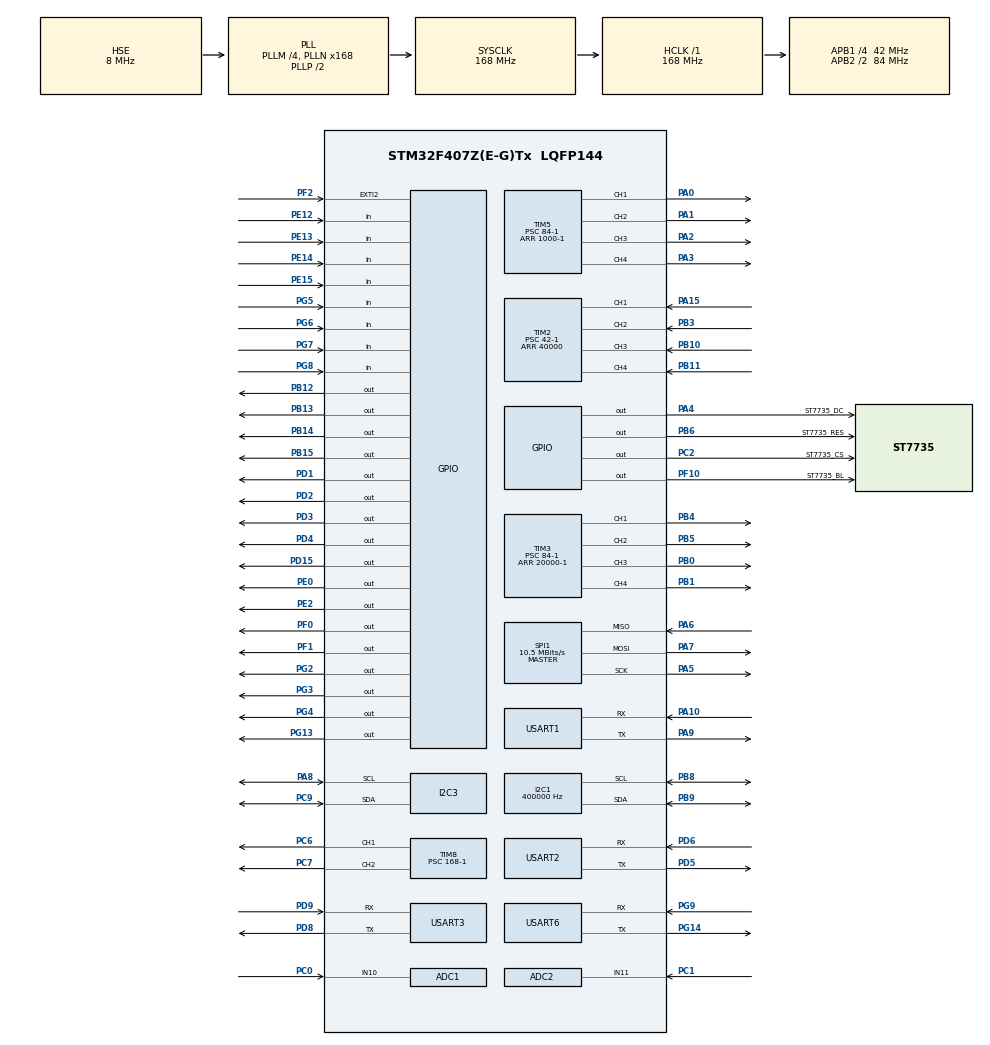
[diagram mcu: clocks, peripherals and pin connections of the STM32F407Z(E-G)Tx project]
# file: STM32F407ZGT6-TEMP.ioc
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ADC1.Channel-3\#ChannelRegularConversion=ADC_CHANNEL_10
ADC1.ClockPrescaler=ADC_CLOCK_SYNC_PCLK_DIV8
ADC1.ContinuousConvMode=DISABLE
ADC1.NbrOfConversionFlag=1
ADC1.Rank-3\#ChannelRegularConversion=1
ADC1.SamplingTime-3\#ChannelRegularConversion=ADC_SAMPLETIME_56CYCLES
ADC1.ScanConvMode=DISABLE
ADC1.master=1
ADC2.Channel-3\#ChannelRegularConversion=ADC_CHANNEL_11
ADC2.ClockPrescaler=ADC_CLOCK_SYNC_PCLK_DIV8
ADC2.NbrOfConversionFlag=1
ADC2.Rank-3\#ChannelRegularConversion=1
ADC2.SamplingTime-3\#ChannelRegularConversion=ADC_SAMPLETIME_3CYCLES
Dma.Request0=USART6_RX
Dma.Request1=SPI1_TX
Dma.Request2=USART2_RX
Dma.SPI1_TX.1.Direction=DMA_MEMORY_TO_PERIPH
Dma.SPI1_TX.1.FIFOMode=DMA_FIFOMODE_DISABLE
Dma.SPI1_TX.1.Instance=DMA2_Stream3
Dma.SPI1_TX.1.MemDataAlignment=DMA_MDATAALIGN_BYTE
Dma.SPI1_TX.1.MemInc=DMA_MINC_ENABLE
Dma.SPI1_TX.1.Mode=DMA_NORMAL
Dma.SPI1_TX.1.PeriphDataAlignment=DMA_PDATAALIGN_BYTE
Dma.SPI1_TX.1.PeriphInc=DMA_PINC_DISABLE
Dma.SPI1_TX.1.Priority=DMA_PRIORITY_LOW
Dma.USART2_RX.2.Direction=DMA_PERIPH_TO_MEMORY
Dma.USART2_RX.2.FIFOMode=DMA_FIFOMODE_DISABLE
Dma.USART2_RX.2.Instance=DMA1_Stream5
Dma.USART2_RX.2.MemDataAlignment=DMA_MDATAALIGN_BYTE
Dma.USART2_RX.2.MemInc=DMA_MINC_ENABLE
Dma.USART2_RX.2.Mode=DMA_NORMAL
Dma.USART2_RX.2.PeriphDataAlignment=DMA_PDATAALIGN_BYTE
Dma.USART2_RX.2.PeriphInc=DMA_PINC_DISABLE
Dma.USART2_RX.2.Priority=DMA_PRIORITY_LOW
Dma.USART6_RX.0.Direction=DMA_PERIPH_TO_MEMORY
Dma.USART6_RX.0.FIFOMode=DMA_FIFOMODE_DISABLE
Dma.USART6_RX.0.Instance=DMA2_Stream1
Dma.USART6_RX.0.MemDataAlignment=DMA_MDATAALIGN_BYTE
Dma.USART6_RX.0.MemInc=DMA_MINC_ENABLE
Dma.USART6_RX.0.Mode=DMA_NORMAL
Dma.USART6_RX.0.PeriphDataAlignment=DMA_PDATAALIGN_BYTE
Dma.USART6_RX.0.PeriphInc=DMA_PINC_DISABLE
Dma.USART6_RX.0.Priority=DMA_PRIORITY_LOW
FREERTOS.BinarySemaphores01=xKey01,Dynamic,NULL;xKey02,Dynamic,NULL;xKey03,Dynamic,NULL;xKey04,Dynamic,NULL;xKey05,Dynamic,NULL;xKey06,Dynamic,NULL;xKey07,Dynamic,NULL;xKey08,Dynamic,NULL;xKey09,Dynamic,NULL;xKey10,Dynamic,NULL;xKey11,Dynamic,NULL;xKey12,Dynamic,NULL;xKey13,Dynamic,NULL;xKey14,Dynamic,NULL;xKey15,Dynamic,NULL;xKey16,Dynamic,NULL
FREERTOS.Mutexes01=I2C_1,Dynamic,NULL
FREERTOS.Queues01=oled_msg,4,float,0,Dynamic,NULL,NULL;degree,5,int,0,Dynamic,NULL,NULL;oled_d,5,int,0,Dynamic,NULL,NULL
FREERTOS.Tasks01=defaultTask,24,128,StartDefaultTask,Default,NULL,Dynamic,NULL,NULL;LED,24,256,LEDTask,Default,NULL,Dynamic,NULL,NULL;WheelDrive,24,256,WheelDriveTask,Default,NULL,Dynamic,NULL,NULL;ADC,24,128,ADCtask,Default,NULL,Dynamic,NULL,NULL;OLED,8,512,OLEDdriveTask,Default,NULL,Dynamic,NULL,NULL;UART,8,256,UARTTask,Default,NULL,Dynamic,NULL,NULL;keyScan,8,128,keyScanTask,Default,NULL,Dynamic,NULL,NULL;servo,8,256,servoTask,Default,NULL,Dynamic,NULL,NULL
FREERTOS.configTOTAL_HEAP_SIZE=65536
I2C1.ClockSpeed=400000
I2C1.I2C_Mode=I2C_Fast
I2C3.I2C_Mode=I2C_Fast
IWDG.Prescaler=IWDG_PRESCALER_32
IWDG.Reload=2000-1
Mcu.Family=STM32F4
Mcu.Name=STM32F407Z(E-G)Tx
Mcu.Package=LQFP144
NVIC.DMA1_Stream5_IRQn=true\:5\:0\:false\:false\:true\:true\:false\:true\:true
NVIC.DMA2_Stream1_IRQn=true\:5\:0\:false\:false\:true\:true\:false\:true\:true
NVIC.DMA2_Stream3_IRQn=true\:5\:0\:false\:false\:true\:true\:false\:true\:true
NVIC.EXTI2_IRQn=true\:5\:0\:false\:false\:true\:true\:true\:true\:true
NVIC.PriorityGroup=NVIC_PRIORITYGROUP_4
NVIC.TIM1_UP_TIM10_IRQn=true\:15\:0\:false\:false\:true\:false\:false\:true\:true
NVIC.TIM2_IRQn=true\:5\:0\:false\:false\:true\:true\:true\:true\:true
NVIC.TIM8_UP_TIM13_IRQn=true\:5\:0\:false\:false\:true\:true\:true\:true\:true
NVIC.TimeBase=TIM1_UP_TIM10_IRQn
NVIC.TimeBaseIP=TIM10
NVIC.USART1_IRQn=true\:5\:0\:false\:false\:true\:false\:true\:true\:true
NVIC.USART2_IRQn=true\:5\:0\:false\:false\:true\:true\:true\:true\:true
NVIC.USART3_IRQn=true\:5\:0\:false\:false\:true\:true\:true\:true\:true
NVIC.USART6_IRQn=true\:5\:0\:false\:false\:true\:true\:true\:true\:true
PA0-WKUP.GPIO_PuPd=GPIO_PULLDOWN
PA0-WKUP.GPIO_Speed=GPIO_SPEED_FREQ_VERY_HIGH
PA0-WKUP.Signal=S_TIM5_CH1
PA1.GPIO_PuPd=GPIO_PULLDOWN
PA1.GPIO_Speed=GPIO_SPEED_FREQ_VERY_HIGH
PA1.Signal=S_TIM5_CH2
PA10.GPIO_PuPd=GPIO_NOPULL
PA10.Mode=Asynchronous
PA10.Signal=USART1_RX
PA13.Mode=Serial_Wire
PA13.Signal=SYS_JTMS-SWDIO
PA14.Mode=Serial_Wire
PA14.Signal=SYS_JTCK-SWCLK
PA15.GPIO_PuPd=GPIO_NOPULL
PA15.GPIO_Speed=GPIO_SPEED_FREQ_VERY_HIGH
PA15.Signal=S_TIM2_CH1_ETR
PA2.GPIO_PuPd=GPIO_PULLDOWN
PA2.GPIO_Speed=GPIO_SPEED_FREQ_VERY_HIGH
PA2.Signal=S_TIM5_CH3
PA3.GPIO_PuPd=GPIO_PULLDOWN
PA3.GPIO_Speed=GPIO_SPEED_FREQ_VERY_HIGH
PA3.Signal=S_TIM5_CH4
PA4.GPIO_Label=ST7735_DC
PA4.GPIO_ModeDefaultOutputPP=GPIO_MODE_OUTPUT_PP
PA4.GPIO_PuPd=GPIO_PULLUP
PA4.GPIO_Speed=GPIO_SPEED_FREQ_HIGH
PA4.Signal=GPIO_Output
PA5.GPIO_PuPd=GPIO_PULLUP
PA5.Mode=Full_Duplex_Master
PA5.Signal=SPI1_SCK
PA6.GPIO_PuPd=GPIO_PULLUP
PA6.Mode=Full_Duplex_Master
PA6.Signal=SPI1_MISO
PA7.GPIO_PuPd=GPIO_PULLUP
PA7.Mode=Full_Duplex_Master
PA7.Signal=SPI1_MOSI
PA8.GPIO_Pu=GPIO_PULLUP
PA8.Mode=I2C
PA8.Signal=I2C3_SCL
PA9.GPIO_PuPd=GPIO_NOPULL
PA9.Mode=Asynchronous
PA9.Signal=USART1_TX
PB0.GPIO_PuPd=GPIO_PULLDOWN
PB0.GPIO_Speed=GPIO_SPEED_FREQ_VERY_HIGH
PB0.Signal=S_TIM3_CH3
PB1.GPIO_PuPd=GPIO_PULLDOWN
PB1.GPIO_Speed=GPIO_SPEED_FREQ_VERY_HIGH
PB1.Signal=S_TIM3_CH4
PB10.GPIO_PuPd=GPIO_NOPULL
PB10.GPIO_Speed=GPIO_SPEED_FREQ_VERY_HIGH
PB10.Signal=S_TIM2_CH3
PB11.GPIO_PuPd=GPIO_NOPULL
PB11.GPIO_Speed=GPIO_SPEED_FREQ_VERY_HIGH
PB11.Signal=S_TIM2_CH4
PB12.GPIO_ModeDefaultOutputPP=GPIO_MODE_OUTPUT_PP
PB12.GPIO_PuPd=GPIO_PULLDOWN
PB12.GPIO_Speed=GPIO_SPEED_FREQ_VERY_HIGH
PB12.PinState=GPIO_PIN_RESET
PB12.Signal=GPIO_Output
PB13.GPIO_ModeDefaultOutputPP=GPIO_MODE_OUTPUT_PP
PB13.GPIO_PuPd=GPIO_PULLDOWN
PB13.GPIO_Speed=GPIO_SPEED_FREQ_VERY_HIGH
PB13.PinState=GPIO_PIN_RESET
PB13.Signal=GPIO_Output
PB14.GPIO_ModeDefaultOutputPP=GPIO_MODE_OUTPUT_PP
PB14.GPIO_PuPd=GPIO_PULLDOWN
PB14.GPIO_Speed=GPIO_SPEED_FREQ_VERY_HIGH
PB14.PinState=GPIO_PIN_RESET
PB14.Signal=GPIO_Output
PB15.GPIO_ModeDefaultOutputPP=GPIO_MODE_OUTPUT_PP
PB15.GPIO_PuPd=GPIO_PULLDOWN
PB15.GPIO_Speed=GPIO_SPEED_FREQ_VERY_HIGH
PB15.PinState=GPIO_PIN_RESET
PB15.Signal=GPIO_Output
PB3.GPIO_PuPd=GPIO_NOPULL
PB3.GPIO_Speed=GPIO_SPEED_FREQ_VERY_HIGH
PB3.Signal=S_TIM2_CH2
PB4.GPIO_PuPd=GPIO_PULLDOWN
PB4.GPIO_Speed=GPIO_SPEED_FREQ_VERY_HIGH
PB4.Signal=S_TIM3_CH1
PB5.GPIO_PuPd=GPIO_PULLDOWN
PB5.GPIO_Speed=GPIO_SPEED_FREQ_VERY_HIGH
PB5.Signal=S_TIM3_CH2
PB6.GPIO_Label=ST7735_RES
PB6.GPIO_ModeDefaultOutputPP=GPIO_MODE_OUTPUT_PP
PB6.GPIO_PuPd=GPIO_PULLUP
PB6.GPIO_Speed=GPIO_SPEED_FREQ_HIGH
PB6.Signal=GPIO_Output
PB8.GPIO_Pu=GPIO_PULLUP
PB8.Mode=I2C
PB8.Signal=I2C1_SCL
PB9.GPIO_Pu=GPIO_PULLUP
PB9.Mode=I2C
PB9.Signal=I2C1_SDA
PC0.Signal=ADCx_IN10
PC1.Signal=ADCx_IN11
PC14-OSC32_IN.Mode=LSE-External-Oscillator
PC14-OSC32_IN.Signal=RCC_OSC32_IN
PC15-OSC32_OUT.Mode=LSE-External-Oscillator
PC15-OSC32_OUT.Signal=RCC_OSC32_OUT
PC2.GPIO_Label=ST7735_CS
PC2.GPIO_ModeDefaultOutputPP=GPIO_MODE_OUTPUT_PP
PC2.GPIO_PuPd=GPIO_PULLUP
PC2.GPIO_Speed=GPIO_SPEED_FREQ_HIGH
PC2.Signal=GPIO_Output
PC6.GPIO_PuPd=GPIO_PULLDOWN
PC6.GPIO_Speed=GPIO_SPEED_FREQ_VERY_HIGH
PC6.Signal=S_TIM8_CH1
PC7.GPIO_PuPd=GPIO_PULLDOWN
PC7.GPIO_Speed=GPIO_SPEED_FREQ_VERY_HIGH
PC7.Signal=S_TIM8_CH2
PC9.GPIO_Pu=GPIO_PULLUP
PC9.Mode=I2C
PC9.Signal=I2C3_SDA
PD1.GPIO_PuPd=GPIO_PULLDOWN
PD1.Signal=GPIO_Output
PD15.GPIO_PuPd=GPIO_PULLDOWN
PD15.Signal=GPIO_Output
PD2.GPIO_PuPd=GPIO_PULLDOWN
PD2.Signal=GPIO_Output
PD3.GPIO_PuPd=GPIO_PULLDOWN
PD3.Signal=GPIO_Output
PD4.GPIO_PuPd=GPIO_PULLDOWN
PD4.Signal=GPIO_Output
PD5.GPIO_PuPd=GPIO_NOPULL
PD5.Mode=Asynchronous
PD5.Signal=USART2_TX
PD6.GPIO_PuPd=GPIO_NOPULL
PD6.Mode=Asynchronous
PD6.Signal=USART2_RX
PD8.GPIO_PuPd=GPIO_NOPULL
PD8.Mode=Asynchronous
PD8.Signal=USART3_TX
PD9.GPIO_PuPd=GPIO_NOPULL
PD9.Mode=Asynchronous
PD9.Signal=USART3_RX
PE0.GPIO_ModeDefaultOutputPP=GPIO_MODE_OUTPUT_OD
PE0.GPIO_PuPd=GPIO_NOPULL
PE0.PinState=GPIO_PIN_SET
PE0.Signal=GPIO_Output
PE12.GPIO_Mode=GPIO_MODE_INPUT
PE12.GPIO_PuPd=GPIO_PULLDOWN
PE12.Signal=GPIO_Input
PE13.GPIO_Mode=GPIO_MODE_INPUT
PE13.GPIO_PuPd=GPIO_PULLDOWN
PE13.Signal=GPIO_Input
PE14.GPIO_Mode=GPIO_MODE_INPUT
PE14.GPIO_PuPd=GPIO_PULLDOWN
PE14.Signal=GPIO_Input
PE15.GPIO_Mode=GPIO_MODE_INPUT
PE15.GPIO_PuPd=GPIO_PULLDOWN
PE15.Signal=GPIO_Input
PE2.GPIO_ModeDefaultOutputPP=GPIO_MODE_OUTPUT_PP
PE2.GPIO_PuPd=GPIO_PULLUP
PE2.PinState=GPIO_PIN_SET
PE2.Signal=GPIO_Output
PF0.GPIO_ModeDefaultOutputPP=GPIO_MODE_OUTPUT_OD
PF0.GPIO_PuPd=GPIO_PULLUP
PF0.GPIO_Speed=GPIO_SPEED_FREQ_VERY_HIGH
PF0.PinState=GPIO_PIN_SET
PF0.Signal=GPIO_Output
PF1.GPIO_ModeDefaultOutputPP=GPIO_MODE_OUTPUT_OD
PF1.GPIO_PuPd=GPIO_PULLUP
PF1.GPIO_Speed=GPIO_SPEED_FREQ_VERY_HIGH
PF1.PinState=GPIO_PIN_SET
PF1.Signal=GPIO_Output
PF10.GPIO_Label=ST7735_BL
PF10.GPIO_ModeDefaultOutputPP=GPIO_MODE_OUTPUT_PP
PF10.GPIO_PuPd=GPIO_PULLUP
PF10.GPIO_Speed=GPIO_SPEED_FREQ_HIGH
PF10.Signal=GPIO_Output
PF2.GPIO_ModeDefaultEXTI=GPIO_MODE_IT_RISING
PF2.GPIO_PuPd=GPIO_PULLDOWN
PF2.Signal=GPXTI2
PG13.GPIO_PuPd=GPIO_PULLDOWN
PG13.Signal=GPIO_Output
PG14.GPIO_PuPd=GPIO_NOPULL
PG14.Mode=Asynchronous
PG14.Signal=USART6_TX
PG2.GPIO_PuPd=GPIO_PULLDOWN
PG2.Signal=GPIO_Output
PG3.GPIO_PuPd=GPIO_PULLDOWN
PG3.Signal=GPIO_Output
PG4.GPIO_PuPd=GPIO_PULLDOWN
PG4.Signal=GPIO_Output
PG5.GPIO_PuPd=GPIO_NOPULL
PG5.Signal=GPIO_Input
PG6.GPIO_PuPd=GPIO_NOPULL
PG6.Signal=GPIO_Input
PG7.GPIO_PuPd=GPIO_NOPULL
PG7.Signal=GPIO_Input
PG8.GPIO_PuPd=GPIO_NOPULL
PG8.Signal=GPIO_Input
PG9.GPIO_PuPd=GPIO_NOPULL
PG9.Mode=Asynchronous
PG9.Signal=USART6_RX
PH0-OSC_IN.Mode=HSE-External-Oscillator
PH0-OSC_IN.Signal=RCC_OSC_IN
PH1-OSC_OUT.Mode=HSE-External-Oscillator
PH1-OSC_OUT.Signal=RCC_OSC_OUT
ProjectManager.HeapSize=0x200
ProjectManager.StackSize=0x400
ProjectManager.TargetToolchain=MDK-ARM V5.32
RCC.48MHZClocksFreq_Value=48000000
RCC.AHBFreq_Value=168000000
RCC.APB1CLKDivider=RCC_HCLK_DIV4
RCC.APB1Freq_Value=42000000
RCC.APB1TimFreq_Value=84000000
RCC.APB2CLKDivider=RCC_HCLK_DIV2
RCC.APB2Freq_Value=84000000
RCC.APB2TimFreq_Value=168000000
RCC.CortexFreq_Value=168000000
RCC.HCLKFreq_Value=168000000
RCC.HSE_VALUE=8000000
RCC.HSI_VALUE=16000000
RCC.PLLM=4
RCC.PLLN=168
RCC.PLLQ=7
RCC.PLLSourceVirtual=RCC_PLLSOURCE_HSE
RCC.SYSCLKFreq_VALUE=168000000
RCC.SYSCLKSource=RCC_SYSCLKSOURCE_PLLCLK
RCC.VCOOutputFreq_Value=336000000
SH.ADCx_IN10.0=ADC1_IN10,IN10
SH.ADCx_IN11.0=ADC2_IN11,IN11
SH.S_TIM2_CH1_ETR.0=TIM2_CH1,Input_Capture1_from_TI1
SH.S_TIM2_CH2.0=TIM2_CH2,Input_Capture2_from_TI2
SH.S_TIM2_CH3.0=TIM2_CH3,Input_Capture3_from_TI3
SH.S_TIM2_CH4.0=TIM2_CH4,Input_Capture4_from_TI4
SH.S_TIM3_CH1.0=TIM3_CH1,PWM Generation1 CH1
SH.S_TIM3_CH2.0=TIM3_CH2,PWM Generation2 CH2
SH.S_TIM3_CH3.0=TIM3_CH3,PWM Generation3 CH3
SH.S_TIM3_CH4.0=TIM3_CH4,PWM Generation4 CH4
SH.S_TIM5_CH1.0=TIM5_CH1,PWM Generation1 CH1
SH.S_TIM5_CH2.0=TIM5_CH2,PWM Generation2 CH2
SH.S_TIM5_CH3.0=TIM5_CH3,PWM Generation3 CH3
SH.S_TIM5_CH4.0=TIM5_CH4,PWM Generation4 CH4
SH.S_TIM8_CH1.0=TIM8_CH1,PWM Generation1 CH1
SH.S_TIM8_CH2.0=TIM8_CH2,PWM Generation2 CH2
SPI1.BaudRatePrescaler=SPI_BAUDRATEPRESCALER_8
SPI1.CalculateBaudRate=10.5 MBits/s
SPI1.Direction=SPI_DIRECTION_2LINES
SPI1.Mode=SPI_MODE_MASTER
SPI1.VirtualType=VM_MASTER
TIM2.Channel-Input_Capture1_from_TI1=TIM_CHANNEL_1
TIM2.Channel-Input_Capture2_from_TI2=TIM_CHANNEL_2
TIM2.Channel-Input_Capture3_from_TI3=TIM_CHANNEL_3
TIM2.Channel-Input_Capture4_from_TI4=TIM_CHANNEL_4
TIM2.Period=40000
TIM2.Prescaler=42-1
TIM3.AutoReloadPreload=TIM_AUTORELOAD_PRELOAD_DISABLE
TIM3.Channel-PWM\ Generation1\ CH1=TIM_CHANNEL_1
TIM3.Channel-PWM\ Generation2\ CH2=TIM_CHANNEL_2
TIM3.Channel-PWM\ Generation3\ CH3=TIM_CHANNEL_3
TIM3.Channel-PWM\ Generation4\ CH4=TIM_CHANNEL_4
TIM3.Period=20000-1
TIM3.Prescaler=84-1
TIM5.AutoReloadPreload=TIM_AUTORELOAD_PRELOAD_ENABLE
TIM5.Channel-PWM\ Generation1\ CH1=TIM_CHANNEL_1
TIM5.Channel-PWM\ Generation2\ CH2=TIM_CHANNEL_2
TIM5.Channel-PWM\ Generation3\ CH3=TIM_CHANNEL_3
TIM5.Channel-PWM\ Generation4\ CH4=TIM_CHANNEL_4
TIM5.Period=1000-1
TIM5.Prescaler=84-1
TIM8.Channel-PWM\ Generation1\ CH1=TIM_CHANNEL_1
TIM8.Channel-PWM\ Generation2\ CH2=TIM_CHANNEL_2
TIM8.Period=1000-1
TIM8.Prescaler=168-1
USART1.VirtualMode=VM_ASYNC
USART2.VirtualMode=VM_ASYNC
USART3.VirtualMode=VM_ASYNC
USART6.VirtualMode=VM_ASYNC
VP_FREERTOS_VS_CMSIS_V2.Mode=CMSIS_V2
VP_IWDG_VS_IWDG.Mode=IWDG_Activate
VP_SYS_VS_tim10.Mode=TIM10
VP_TIM2_VS_ClockSourceINT.Mode=Internal
VP_TIM5_VS_ClockSourceINT.Mode=Internal
VP_TIM8_VS_ClockSourceINT.Mode=Internal
board=custom

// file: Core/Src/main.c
/* USER CODE BEGIN Header */
/**
  ******************************************************************************
  * @file           : main.c
  * @brief          : Main program body
  ******************************************************************************
  * @attention
  *
  * Copyright (c) 2023 STMicroelectronics.
  * All rights reserved.
  *
  * This software is licensed under terms that can be found in the LICENSE file
  * in the root directory of this software component.
  * If no LICENSE file comes with this software, it is provided AS-IS.
  *
  ******************************************************************************
  */
/* USER CODE END Header */
#include "main.h"
#include "cmsis_os.h"
#include "adc.h"
#include "dma.h"
#include "i2c.h"
#include "iwdg.h"
#include "spi.h"
#include "tim.h"
#include "usart.h"
#include "gpio.h"

/* USER CODE BEGIN Includes */
//#include "mpu6050.h"
#include "encoder.h"
#include "stdio.h"
#include "oled.h"
#include "st7735.h"
/* USER CODE END Includes */

/* USER CODE BEGIN PV */
extern motor_encoder motor1;
extern motor_encoder motor2;
extern motor_encoder motor3;
extern motor_encoder motor4;

const float PI = 3.1415926;
const float D = 0.065;
/* USER CODE END PV */

void SystemClock_Config(void);
void MX_FREERTOS_Init(void);

int main(void)
{

  /* MCU Configuration--------------------------------------------------------*/

  /* Reset of all peripherals, Initializes the Flash interface and the Systick. */
  HAL_Init();

  /* Configure the system clock */
  SystemClock_Config();

  /* Initialize all configured peripherals */
  MX_GPIO_Init();
  MX_DMA_Init();
  MX_TIM2_Init();
  MX_TIM5_Init();
  MX_ADC1_Init();
  MX_I2C1_Init();
  MX_I2C3_Init();
  MX_SPI1_Init();
  MX_TIM3_Init();
  MX_USART1_UART_Init();
  MX_USART2_UART_Init();
  MX_USART3_UART_Init();
  MX_USART6_UART_Init();
  MX_TIM8_Init();
  MX_ADC2_Init();
  MX_IWDG_Init();
  /* USER CODE BEGIN 2 */

	/*Usart6*/
	UART_init();

	/*motor timer pwm config*/
	//HAL_TIM_PWM_Start(&htim5,TIM_CHANNEL_1);
	//HAL_TIM_PWM_Start(&htim5,TIM_CHANNEL_2);
	HAL_TIM_PWM_Start(&htim5,TIM_CHANNEL_3);
	HAL_TIM_PWM_Start(&htim5,TIM_CHANNEL_4);
	//__HAL_TIM_SetCompare(&htim5,TIM_CHANNEL_1,0);
	//__HAL_TIM_SetCompare(&htim5,TIM_CHANNEL_2,0);
	__HAL_TIM_SetCompare(&htim5,TIM_CHANNEL_3,0);
	__HAL_TIM_SetCompare(&htim5,TIM_CHANNEL_4,0);

	/*servo timer pwm conig*/
	HAL_TIM_PWM_Start(&htim3,TIM_CHANNEL_1);
	//HAL_TIM_PWM_Start(&htim3,TIM_CHANNEL_2);
	//HAL_TIM_PWM_Start(&htim3,TIM_CHANNEL_3);
	//HAL_TIM_PWM_Start(&htim3,TIM_CHANNEL_4);
	__HAL_TIM_SetCompare(&htim3,TIM_CHANNEL_1,0);
	//__HAL_TIM_SetCompare(&htim3,TIM_CHANNEL_2,0);
	//__HAL_TIM_SetCompare(&htim3,TIM_CHANNEL_3,0);
	//__HAL_TIM_SetCompare(&htim3,TIM_CHANNEL_4,0);

	/*motor encoder input capture mode*/
//	HAL_TIM_IC_Start_IT(&htim2,TIM_CHANNEL_1);
//	HAL_TIM_IC_Start_IT(&htim2,TIM_CHANNEL_2);
	HAL_TIM_IC_Start_IT(&htim2,TIM_CHANNEL_3);
	HAL_TIM_IC_Start_IT(&htim2,TIM_CHANNEL_4);
	//__HAL_TIM_ENABLE_IT(&htim2);
	HAL_TIM_Base_Start_IT(&htim2);

//	MPU_Init();
	OLED_Init();
	ST7735_Init();
	ST7735_Backlight_On();
  /* USER CODE END 2 */

  /* Init scheduler */
  osKernelInitialize();  /* Call init function for freertos objects (in freertos.c) */
  MX_FREERTOS_Init();

  /* Start scheduler */
  osKernelStart();

  /* We should never get here as control is now taken by the scheduler */
  /* Infinite loop */
  while (1)
  {

  }
}

void SystemClock_Config(void)
{
  RCC_OscInitTypeDef RCC_OscInitStruct = {0};
  RCC_ClkInitTypeDef RCC_ClkInitStruct = {0};

  /** Configure the main internal regulator output voltage
  */
  __HAL_RCC_PWR_CLK_ENABLE();
  __HAL_PWR_VOLTAGESCALING_CONFIG(PWR_REGULATOR_VOLTAGE_SCALE1);

  /** Initializes the RCC Oscillators according to the specified parameters
  * in the RCC_OscInitTypeDef structure.
  */
  RCC_OscInitStruct.OscillatorType = RCC_OSCILLATORTYPE_LSI|RCC_OSCILLATORTYPE_HSE;
  RCC_OscInitStruct.HSEState = RCC_HSE_ON;
  RCC_OscInitStruct.LSIState = RCC_LSI_ON;
  RCC_OscInitStruct.PLL.PLLState = RCC_PLL_ON;
  RCC_OscInitStruct.PLL.PLLSource = RCC_PLLSOURCE_HSE;
  RCC_OscInitStruct.PLL.PLLM = 4;
  RCC_OscInitStruct.PLL.PLLN = 168;
  RCC_OscInitStruct.PLL.PLLP = RCC_PLLP_DIV2;
  RCC_OscInitStruct.PLL.PLLQ = 7;
  if (HAL_RCC_OscConfig(&RCC_OscInitStruct) != HAL_OK)
  {
    Error_Handler();
  }

  /** Initializes the CPU, AHB and APB buses clocks
  */
  RCC_ClkInitStruct.ClockType = RCC_CLOCKTYPE_HCLK|RCC_CLOCKTYPE_SYSCLK
                              |RCC_CLOCKTYPE_PCLK1|RCC_CLOCKTYPE_PCLK2;
  RCC_ClkInitStruct.SYSCLKSource = RCC_SYSCLKSOURCE_PLLCLK;
  RCC_ClkInitStruct.AHBCLKDivider = RCC_SYSCLK_DIV1;
  RCC_ClkInitStruct.APB1CLKDivider = RCC_HCLK_DIV4;
  RCC_ClkInitStruct.APB2CLKDivider = RCC_HCLK_DIV2;

  if (HAL_RCC_ClockConfig(&RCC_ClkInitStruct, FLASH_LATENCY_5) != HAL_OK)
  {
    Error_Handler();
  }
}

void HAL_TIM_PeriodElapsedCallback(TIM_HandleTypeDef *htim)
{
  if (htim->Instance == TIM10) {
    HAL_IncTick();
  }
  /* USER CODE BEGIN Callback 1 */
	if(htim->Instance == TIM2)
	{
		motor1.speed = PI*D*(float)motor1.pluse/3.9f * motor1.direction;
		motor1.pluse = 0;
		motor2.speed = PI*D*(float)motor2.pluse/3.9f * motor2.direction;
		motor2.pluse = 0;
		motor3.speed = PI*D*(float)motor3.pluse/3.9f * motor3.direction;
		motor3.pluse = 0;
		motor4.speed = PI*D*(float)motor4.pluse/3.9f * motor4.direction;
		motor4.pluse = 0;
	}
  /* USER CODE END Callback 1 */
}

void Error_Handler(void)
{
  __disable_irq();
  while (1)
  {
  }
}

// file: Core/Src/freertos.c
/* USER CODE BEGIN Header */
/**
  ******************************************************************************
  * File Name          : freertos.c
  * Description        : Code for freertos applications
  ******************************************************************************
  * @attention
  *
  * Copyright (c) 2023 STMicroelectronics.
  * All rights reserved.
  *
  * This software is licensed under terms that can be found in the LICENSE file
  * in the root directory of this software component.
  * If no LICENSE file comes with this software, it is provided AS-IS.
  *
  ******************************************************************************
  */
/* USER CODE END Header */

#include "FreeRTOS.h"
#include "task.h"
#include "main.h"
#include "cmsis_os.h"

/* USER CODE BEGIN Includes */
#include "adc.h"
#include "i2c.h"
#include "spi.h"
#include "tim.h"
#include "usart.h"
#include "gpio.h"
#include "stdio.h"
#include "adc.h"
#include "motor.h"
#include "oled.h"
#include "encoder.h"
#include "pid.h"
#include "kalman_filter.h"
#include "uart_ringbuffer.h"
#include "servo.h"
#include "st7735.h"
#include "keyscan.h"
#include "iwdg.h"
/* USER CODE END Includes */

/* USER CODE BEGIN PM */
void Uart6_printf(char *str);
void Uart2_printf(char *str);
/* USER CODE END PM */

/* USER CODE BEGIN Variables */

extern DUT_USART_FIFO g_tUART_6;
extern DUT_USART_FIFO g_tUART_2;

int ok = 0;
/* USER CODE END Variables */
/* Definitions for defaultTask */
osThreadId_t defaultTaskHandle;
const osThreadAttr_t defaultTask_attributes = {
  .name = "defaultTask",
  .stack_size = 128 * 4,
  .priority = (osPriority_t) osPriorityNormal,
};
/* Definitions for LED */
osThreadId_t LEDHandle;
const osThreadAttr_t LED_attributes = {
  .name = "LED",
  .stack_size = 256 * 4,
  .priority = (osPriority_t) osPriorityNormal,
};
/* Definitions for WheelDrive */
osThreadId_t WheelDriveHandle;
const osThreadAttr_t WheelDrive_attributes = {
  .name = "WheelDrive",
  .stack_size = 256 * 4,
  .priority = (osPriority_t) osPriorityNormal,
};
/* Definitions for ADC */
osThreadId_t ADCHandle;
const osThreadAttr_t ADC_attributes = {
  .name = "ADC",
  .stack_size = 128 * 4,
  .priority = (osPriority_t) osPriorityNormal,
};
/* Definitions for OLED */
osThreadId_t OLEDHandle;
const osThreadAttr_t OLED_attributes = {
  .name = "OLED",
  .stack_size = 512 * 4,
  .priority = (osPriority_t) osPriorityLow,
};
/* Definitions for UART */
osThreadId_t UARTHandle;
const osThreadAttr_t UART_attributes = {
  .name = "UART",
  .stack_size = 256 * 4,
  .priority = (osPriority_t) osPriorityLow,
};
/* Definitions for keyScan */
osThreadId_t keyScanHandle;
const osThreadAttr_t keyScan_attributes = {
  .name = "keyScan",
  .stack_size = 128 * 4,
  .priority = (osPriority_t) osPriorityLow,
};
/* Definitions for servo */
osThreadId_t servoHandle;
const osThreadAttr_t servo_attributes = {
  .name = "servo",
  .stack_size = 256 * 4,
  .priority = (osPriority_t) osPriorityLow,
};
/* Definitions for oled_msg */
osMessageQueueId_t oled_msgHandle;
const osMessageQueueAttr_t oled_msg_attributes = {
  .name = "oled_msg"
};
/* Definitions for degree */
osMessageQueueId_t degreeHandle;
const osMessageQueueAttr_t degree_attributes = {
  .name = "degree"
};
/* Definitions for oled_d */
osMessageQueueId_t oled_dHandle;
const osMessageQueueAttr_t oled_d_attributes = {
  .name = "oled_d"
};
/* Definitions for I2C_1 */
osMutexId_t I2C_1Handle;
const osMutexAttr_t I2C_1_attributes = {
  .name = "I2C_1"
};
/* Definitions for xKey01 */
osSemaphoreId_t xKey01Handle;
const osSemaphoreAttr_t xKey01_attributes = {
  .name = "xKey01"
};
/* Definitions for xKey02 */
osSemaphoreId_t xKey02Handle;
const osSemaphoreAttr_t xKey02_attributes = {
  .name = "xKey02"
};
/* Definitions for xKey03 */
osSemaphoreId_t xKey03Handle;
const osSemaphoreAttr_t xKey03_attributes = {
  .name = "xKey03"
};
/* Definitions for xKey04 */
osSemaphoreId_t xKey04Handle;
const osSemaphoreAttr_t xKey04_attributes = {
  .name = "xKey04"
};
/* Definitions for xKey05 */
osSemaphoreId_t xKey05Handle;
const osSemaphoreAttr_t xKey05_attributes = {
  .name = "xKey05"
};
/* Definitions for xKey06 */
osSemaphoreId_t xKey06Handle;
const osSemaphoreAttr_t xKey06_attributes = {
  .name = "xKey06"
};
/* Definitions for xKey07 */
osSemaphoreId_t xKey07Handle;
const osSemaphoreAttr_t xKey07_attributes = {
  .name = "xKey07"
};
/* Definitions for xKey08 */
osSemaphoreId_t xKey08Handle;
const osSemaphoreAttr_t xKey08_attributes = {
  .name = "xKey08"
};
/* Definitions for xKey09 */
osSemaphoreId_t xKey09Handle;
const osSemaphoreAttr_t xKey09_attributes = {
  .name = "xKey09"
};
/* Definitions for xKey10 */
osSemaphoreId_t xKey10Handle;
const osSemaphoreAttr_t xKey10_attributes = {
  .name = "xKey10"
};
/* Definitions for xKey11 */
osSemaphoreId_t xKey11Handle;
const osSemaphoreAttr_t xKey11_attributes = {
  .name = "xKey11"
};
/* Definitions for xKey12 */
osSemaphoreId_t xKey12Handle;
const osSemaphoreAttr_t xKey12_attributes = {
  .name = "xKey12"
};
/* Definitions for xKey13 */
osSemaphoreId_t xKey13Handle;
const osSemaphoreAttr_t xKey13_attributes = {
  .name = "xKey13"
};
/* Definitions for xKey14 */
osSemaphoreId_t xKey14Handle;
const osSemaphoreAttr_t xKey14_attributes = {
  .name = "xKey14"
};
/* Definitions for xKey15 */
osSemaphoreId_t xKey15Handle;
const osSemaphoreAttr_t xKey15_attributes = {
  .name = "xKey15"
};
/* Definitions for xKey16 */
osSemaphoreId_t xKey16Handle;
const osSemaphoreAttr_t xKey16_attributes = {
  .name = "xKey16"
};

void StartDefaultTask(void *argument);
void LEDTask(void *argument);
void WheelDriveTask(void *argument);
void ADCtask(void *argument);
void OLEDdriveTask(void *argument);
void UARTTask(void *argument);
void keyScanTask(void *argument);
void servoTask(void *argument);

void MX_FREERTOS_Init(void); /* (MISRA C 2004 rule 8.1) */

void MX_FREERTOS_Init(void) {
  /* Create the mutex(es) */
  /* creation of I2C_1 */
  I2C_1Handle = osMutexNew(&I2C_1_attributes);

  /* Create the semaphores(s) */
  /* creation of xKey01 */
  xKey01Handle = osSemaphoreNew(1, 1, &xKey01_attributes);

  /* creation of xKey02 */
  xKey02Handle = osSemaphoreNew(1, 1, &xKey02_attributes);

  /* creation of xKey03 */
  xKey03Handle = osSemaphoreNew(1, 1, &xKey03_attributes);

  /* creation of xKey04 */
  xKey04Handle = osSemaphoreNew(1, 1, &xKey04_attributes);

  /* creation of xKey05 */
  xKey05Handle = osSemaphoreNew(1, 1, &xKey05_attributes);

  /* creation of xKey06 */
  xKey06Handle = osSemaphoreNew(1, 1, &xKey06_attributes);

  /* creation of xKey07 */
  xKey07Handle = osSemaphoreNew(1, 1, &xKey07_attributes);

  /* creation of xKey08 */
  xKey08Handle = osSemaphoreNew(1, 1, &xKey08_attributes);

  /* creation of xKey09 */
  xKey09Handle = osSemaphoreNew(1, 1, &xKey09_attributes);

  /* creation of xKey10 */
  xKey10Handle = osSemaphoreNew(1, 1, &xKey10_attributes);

  /* creation of xKey11 */
  xKey11Handle = osSemaphoreNew(1, 1, &xKey11_attributes);

  /* creation of xKey12 */
  xKey12Handle = osSemaphoreNew(1, 1, &xKey12_attributes);

  /* creation of xKey13 */
  xKey13Handle = osSemaphoreNew(1, 1, &xKey13_attributes);

  /* creation of xKey14 */
  xKey14Handle = osSemaphoreNew(1, 1, &xKey14_attributes);

  /* creation of xKey15 */
  xKey15Handle = osSemaphoreNew(1, 1, &xKey15_attributes);

  /* creation of xKey16 */
  xKey16Handle = osSemaphoreNew(1, 1, &xKey16_attributes);

  /* Create the queue(s) */
  /* creation of oled_msg */
  oled_msgHandle = osMessageQueueNew (4, sizeof(float), &oled_msg_attributes);

  /* creation of degree */
  degreeHandle = osMessageQueueNew (5, sizeof(int), &degree_attributes);

  /* creation of oled_d */
  oled_dHandle = osMessageQueueNew (5, sizeof(int), &oled_d_attributes);

  /* Create the thread(s) */
  /* creation of defaultTask */
  defaultTaskHandle = osThreadNew(StartDefaultTask, NULL, &defaultTask_attributes);

  /* creation of LED */
  LEDHandle = osThreadNew(LEDTask, NULL, &LED_attributes);

  /* creation of WheelDrive */
  WheelDriveHandle = osThreadNew(WheelDriveTask, NULL, &WheelDrive_attributes);

  /* creation of ADC */
  ADCHandle = osThreadNew(ADCtask, NULL, &ADC_attributes);

  /* creation of OLED */
  OLEDHandle = osThreadNew(OLEDdriveTask, NULL, &OLED_attributes);

  /* creation of UART */
  UARTHandle = osThreadNew(UARTTask, NULL, &UART_attributes);

  /* creation of keyScan */
  keyScanHandle = osThreadNew(keyScanTask, NULL, &keyScan_attributes);

  /* creation of servo */
  servoHandle = osThreadNew(servoTask, NULL, &servo_attributes);

}

void StartDefaultTask(void *argument)
{
  /* USER CODE BEGIN StartDefaultTask */
	char led = 0;
	char timer = 0;

	osSemaphoreAcquire(xKey01Handle,1);
  /* Infinite loop */
  for(;;)
  {
		if(led){
			HAL_GPIO_WritePin(GPIOG,GPIO_PIN_13,GPIO_PIN_SET);
		}else{
			HAL_GPIO_WritePin(GPIOG,GPIO_PIN_13,GPIO_PIN_RESET);
		}
		led = !led;

		if(osSemaphoreAcquire(xKey16Handle,1)==osOK){
			timer = 1;
			//Start BEEP;
			HAL_GPIO_WritePin(GPIOE,GPIO_PIN_0,GPIO_PIN_RESET);
		}
		if(timer != 0){
			if(timer>=2){
				timer = 0;
				//STOP BEEP!
				HAL_GPIO_WritePin(GPIOE,GPIO_PIN_0,GPIO_PIN_SET);
			}else{
				timer++;
			}
		}

		if(osSemaphoreAcquire(xKey01Handle,1) == osOK){
			Uart2_printf("reboot");
			printf("reboot!\r\n");
			ok = 0;
		}
		HAL_IWDG_Refresh(&hiwdg);
    osDelay(500);
  }
  /* USER CODE END StartDefaultTask */
}

void LEDTask(void *argument)
{
  /* USER CODE BEGIN LEDTask */
	osDelay(5000);
	osSemaphoreAcquire(xKey13Handle,1);
	osSemaphoreAcquire(xKey14Handle,1);
	osSemaphoreAcquire(xKey08Handle,1);
	osSemaphoreAcquire(xKey12Handle,1);
  /* Infinite loop */
  for(;;)
  {
		if(osSemaphoreAcquire(xKey13Handle,1) == osOK){

			osSemaphoreRelease(xKey06Handle);
			osDelay(1000);
			//Auto park int to the ringht side
			osSemaphoreRelease(xKey16Handle);
			//go forward
			osSemaphoreRelease(xKey02Handle);
			encoder_reset(3);
			encoder_reset(4);
			while(readencoderlength(4)<370){
				osDelay(1);
			}
			//turn right and go backward
			osSemaphoreRelease(xKey06Handle);
			osDelay(200);
			osSemaphoreRelease(xKey10Handle);
			osSemaphoreRelease(xKey07Handle);
			encoder_reset(3);
			encoder_reset(4);
			while(readencoderlength(4)>-560){
				osDelay(1);
			}
			//go back straight
			osSemaphoreRelease(xKey03Handle);
			encoder_reset(3);
			encoder_reset(4);
			while(readencoderlength(3)>-440){
				osDelay(1);
			}
			//go back left
			osSemaphoreRelease(xKey05Handle);
			encoder_reset(3);
			encoder_reset(4);
			while(readencoderlength(3)>-530){
				osDelay(1);
			}
			//stop and turn
			osSemaphoreRelease(xKey06Handle);
			osSemaphoreRelease(xKey03Handle);
			osSemaphoreRelease(xKey16Handle);
			//end
			osDelay(2000);
			osSemaphoreRelease(xKey14Handle);
		}else if(osSemaphoreAcquire(xKey14Handle,1) == osOK){
			//set up from the side parking slot
			//go forward
			osSemaphoreRelease(xKey02Handle);
//			encoder_reset(3);
//			encoder_reset(4);
//			while(readencoderlength(3)<460){
//				osDelay(1);
//			}
			//turn left and continue to go
			osSemaphoreRelease(xKey05Handle);
			encoder_reset(3);
			encoder_reset(4);
			while(readencoderlength(4)<460){
				osDelay(1);
			}
			//go straight
			osSemaphoreRelease(xKey03Handle);
			encoder_reset(3);
			encoder_reset(4);
			while(readencoderlength(3)<390){
				osDelay(1);
			}
			//go right
			osSemaphoreRelease(xKey07Handle);
			encoder_reset(3);
			encoder_reset(4);
			while(readencoderlength(3)<500){
				osDelay(1);
			}
			//turn then stop
			osSemaphoreRelease(xKey03Handle);
			osDelay(500);
			osSemaphoreRelease(xKey06Handle);
			//Uart2_printf("pid");
			//end

		}else if(osSemaphoreAcquire(xKey08Handle,1) == osOK){

			//Auto park to the back
			osSemaphoreRelease(xKey06Handle);
			osDelay(1000);
			osSemaphoreRelease(xKey16Handle);
			//go straight
			osSemaphoreRelease(xKey02Handle);
			encoder_reset(3);
			encoder_reset(4);
			while(readencoderlength(4)<40){
				osDelay(1);
			}
			//turn right and go back
			osSemaphoreRelease(xKey07Handle);
			osDelay(200);
			osSemaphoreRelease(xKey10Handle);
			encoder_reset(3);
			encoder_reset(4);
			while(readencoderlength(4)>-1320){
				osDelay(1);
			}
			//turn straight
			osSemaphoreRelease(xKey03Handle);
			encoder_reset(3);
			encoder_reset(4);
			while(readencoderlength(4)>-380){
				osDelay(1);
			}
			//stop!
			osSemaphoreRelease(xKey06Handle);
			osSemaphoreRelease(xKey16Handle);
			//end
			osDelay(2000);
			osSemaphoreRelease(xKey12Handle);
		}else if(osSemaphoreAcquire(xKey12Handle,1) == osOK){
			//go straight
			osSemaphoreRelease(xKey02Handle);
			encoder_reset(3);
			encoder_reset(4);
			while(readencoderlength(4)<320){
				osDelay(1);
			}
			//turn right
			osSemaphoreRelease(xKey07Handle);
			encoder_reset(3);
			encoder_reset(4);
			while(readencoderlength(4)<1320){
				osDelay(1);
			}
			//change distance
			osSemaphoreRelease(xKey07Handle);
			encoder_reset(3);
			encoder_reset(4);
			while(readencoderlength(4)<350){
				osDelay(1);
			}
			osSemaphoreRelease(xKey05Handle);
			encoder_reset(3);
			encoder_reset(4);
			while(readencoderlength(4)<320){
				osDelay(1);
			}
			//turn straight
			osSemaphoreRelease(xKey03Handle);
			Uart2_printf("pid");
			//end

		}

		osDelay(1);
  }
  /* USER CODE END LEDTask */
}

void WheelDriveTask(void *argument)
{
  /* USER CODE BEGIN WheelDriveTask */
	osDelay(500);

	float base_speed = 0.4;

	pid_t motor_3_v_pid = {
		.setPoint = base_speed,
		.proportion = 500,
		.integral = 2700,
		.derivative = 0,
		.Ts = 0.01,
		.maxOutput = 1000,
		.minOutput = -1000,
		.base = 0,
		.sumILimit = 700,
	};
	pid_t motor_4_v_pid = {
		.setPoint = base_speed,
		.proportion = 500,
		.integral = 2700,
		.derivative = 0,
		.Ts = 0.01,
		.maxOutput = 1000,
		.minOutput = -1000,
		.base = 0,
		.sumILimit = 700,
	};
	//difference of length or velocity
	pid_t start_stable_pid = {
		.setPoint = 0,
		.proportion = 5,
		.integral = 2,
		.derivative = 0,
		.Ts = 0.01,
		.maxOutput = 1000,
		.minOutput = -1000,
		.base = 0,
		.sumILimit = 700,
	};
	float output_3;
	float output_4;
	float motor_3_velocity=0;
	float motor_4_velocity=0;
	int delta = 0;
	int delta_output = 0;
	int delta_lock = 1;
	//Encoder initialization
	encoder_init(3);
	encoder_init(4);
	int delta_clear_timer = 0;
  /* Infinite loop */
  for(;;)
  {

		if(osSemaphoreAcquire(xKey02Handle,1)==osOK){
			PID_Reset(&motor_3_v_pid);
			PID_Reset(&motor_4_v_pid);
			motor_3_v_pid.setPoint = base_speed;
			motor_4_v_pid.setPoint = base_speed;
		}else if(osSemaphoreAcquire(xKey10Handle,1)==osOK){
			PID_Reset(&motor_3_v_pid);
			PID_Reset(&motor_4_v_pid);
			motor_3_v_pid.setPoint = - base_speed;
			motor_4_v_pid.setPoint = - base_speed;
		}else if(osSemaphoreAcquire(xKey06Handle,1)==osOK){
			PID_Reset(&motor_3_v_pid);
			PID_Reset(&motor_4_v_pid);
			motor_3_v_pid.setPoint = 0;
			motor_4_v_pid.setPoint = 0;
			motor(3,0);
			motor(4,0);
			osDelay(200);
		}
		if(osSemaphoreAcquire(xKey15Handle,1) == osOK){
			encoder_reset(3);
			encoder_reset(4);
		}

		motor_3_velocity = readencoder(3);
		motor_4_velocity = readencoder(4);
		output_3 = PID_Calculate(&motor_3_v_pid,motor_3_velocity);
		output_4 = PID_Calculate(&motor_4_v_pid,motor_4_velocity);

//		if(delta_clear_timer>=300){
//			encoder_reset(3);
//			encoder_reset(4);
//			delta_clear_timer = 0;
////			delta_lock = 0;
//		}else{
//			delta_clear_timer++;
//		}
		if(delta_lock){
			delta = readencoderlength(3) - readencoderlength(4);
			delta_output = PID_Calculate(&start_stable_pid,delta);
		}else{
			delta_output = 0;
		}

		//output = PID_Calculate(&motor_1_pid,m1v);
//		printf("OK\r\n");
		motor(3,output_3+delta_output);
		motor(4,output_4-delta_output);
//		printf("v:%6.4f,%6.4f\r\n",motor_3_velocity,motor_4_velocity);
    osDelay(10);
  }
  /* USER CODE END WheelDriveTask */
}

void ADCtask(void *argument)
{
  /* USER CODE BEGIN ADCtask */
	float adc_power = 0;
	float adc_out = 0;
	kalman1_state adcfilter;
	kalman1_init(&adcfilter,11.5,0.1);
//	float filter[5];
  /* Infinite loop */
  for(;;)
  {
		adc_power = get_adc_value_pow()*(19.96+100.5)/19.96;
		adc_out = kalman1_filter(&adcfilter,adc_power);
//		filter[0] = get_adc_value_pow();
//		filter[0] = filter[0]*(19.96+100.5)/19.96;
//		adc_power = 0.1f*filter[0] + 0.2f*filter[1] + 0.4f*filter[2] + 0.2f * filter[3] + 0.1f * filter[4];
//		filter[4] = filter[3];
//		filter[3] = filter[2];
//		filter[2] = filter[1];
//		filter[1] = filter[0];
//		sprintf(output,"U:%5.3f,%5.3f\r\n",adc_power,adc_out);
//		Uart6_printf(output);
		osMessageQueuePut( oled_msgHandle,&adc_out, 0,1);
    osDelay(200);
  }
  /* USER CODE END ADCtask */
}

void OLEDdriveTask(void *argument)
{
  /* USER CODE BEGIN OLEDdriveTask */
	OLED_Display_On();
	OLED_Clear();
	char str[16];
	float temp = 0;
	float adcpower = 0;

	OLED_ShowString(0,2,(uint8_t *)"SIT-K13",0);
  /* Infinite loop */
  for(;;)
  {
		if(osMessageQueueGet( oled_msgHandle, &temp, 0, 5) == osOK){
			adcpower = temp;
		}

//      P()
		osMutexWait( I2C_1Handle , 0xffffff);
		sprintf(str,"Battery:%5.2fV",adcpower);
		OLED_ShowString(0,2,(uint8_t *)str,0);
		if(!ok){
			sprintf(str,"SystemNotOK! ");
		}else{
			sprintf(str,"SystemOK!    ");
		}
		OLED_ShowString(0,0,(uint8_t *)str,0);
		sprintf(str,"L:%6d",readencoderlength(3));
		OLED_ShowString(0,4,(uint8_t *)str,0);

		sprintf(str,"R:%6d",readencoderlength(4));
		OLED_ShowString(0,6,(uint8_t *)str,0);

		osMutexRelease( I2C_1Handle );
//      V()

    osDelay(50);
  }
  /* USER CODE END OLEDdriveTask */
}

void UARTTask(void *argument)
{
  /* USER CODE BEGIN UARTTask */
	unsigned char tempstr[128] = {0};
	unsigned int templength = 0;
	int turn = 0;
	int flag = 1;
  /* Infinite loop */
  for(;;)
  {
		////////////////UART6//////////////
		if(g_tUART_6.rec_end_flag==1){
			g_tUART_6.rec_end_flag = 0;
			GetBuf(&g_tUART_6,tempstr,&templength);
			printf("ECHO:%s",tempstr);
			///////////////////////////////////////
			if(tempstr[0]=='g'){
				if(tempstr[1]=='o'){
					osSemaphoreRelease(xKey02Handle);
				}
			}
			///////////////////////////////////////
			if(tempstr[0]=='s'){
				if(tempstr[1]=='t'){
					osSemaphoreRelease(xKey06Handle);
				}
			}
			///////////////////////////////////////
			if(tempstr[0]=='t'){
				if(tempstr[1]=='l'){
					osSemaphoreRelease(xKey05Handle);
				}
			}
			///////////////////////////////////////
			if(tempstr[0]=='t'){
				if(tempstr[1]=='r'){
					osSemaphoreRelease(xKey07Handle);
				}
			}
			///////////////////////////////////////
			if(tempstr[0]=='b'){
				if(tempstr[1]=='c'){
					osSemaphoreRelease(xKey10Handle);
				}
			}
			///////////////////////////////////////
			if(tempstr[0]=='d'){
				if(tempstr[1]=='i'){
					osSemaphoreRelease(xKey16Handle);
				}
			}
			///////////////////////////////////////
			if((tempstr[0] == '0')&&(tempstr[1] == '1')){
				osSemaphoreRelease(xKey01Handle);
			}else if((tempstr[0] == '0')&&(tempstr[1] == '2')){
				osSemaphoreRelease(xKey02Handle);
			}else if((tempstr[0] == '0')&&(tempstr[1] == '3')){
				osSemaphoreRelease(xKey03Handle);
			}else if((tempstr[0] == '0')&&(tempstr[1] == '4')){
				osSemaphoreRelease(xKey04Handle);
			}else if((tempstr[0] == '0')&&(tempstr[1] == '5')){
				osSemaphoreRelease(xKey05Handle);
			}else if((tempstr[0] == '0')&&(tempstr[1] == '6')){
				osSemaphoreRelease(xKey06Handle);
			}else if((tempstr[0] == '0')&&(tempstr[1] == '7')){
				osSemaphoreRelease(xKey07Handle);
			}else if((tempstr[0] == '0')&&(tempstr[1] == '8')){
				osSemaphoreRelease(xKey08Handle);
			}else if((tempstr[0] == '0')&&(tempstr[1] == '9')){
				osSemaphoreRelease(xKey09Handle);
			}else if((tempstr[0] == '1')&&(tempstr[1] == '0')){
				osSemaphoreRelease(xKey10Handle);
			}else if((tempstr[0] == '1')&&(tempstr[1] == '1')){
				osSemaphoreRelease(xKey11Handle);
			}else if((tempstr[0] == '1')&&(tempstr[1] == '2')){
				osSemaphoreRelease(xKey12Handle);
			}else if((tempstr[0] == '1')&&(tempstr[1] == '3')){
				osSemaphoreRelease(xKey13Handle);
			}else if((tempstr[0] == '1')&&(tempstr[1] == '4')){
				osSemaphoreRelease(xKey14Handle);
			}else if((tempstr[0] == '1')&&(tempstr[1] == '5')){
				osSemaphoreRelease(xKey15Handle);
			}else if((tempstr[0] == '1')&&(tempstr[1] == '6')){
				osSemaphoreRelease(xKey16Handle);
			}

			memset(tempstr,0,templength);
		}

		////////////////UART2////////////////
		if(g_tUART_2.rec_end_flag==1){
			g_tUART_2.rec_end_flag = 0;
			GetBuf(&g_tUART_2,tempstr,&templength);
			//printf("E2:%s\r\n",tempstr);
			///////////////////////////////////////
			if((tempstr[0] == '0')&&(tempstr[1] == '1')){
				osSemaphoreRelease(xKey08Handle);
				printf("get1\r\n");
			}
			if((tempstr[0] == '0')&&(tempstr[1] == '2')){
				osSemaphoreRelease(xKey13Handle);
				printf("get2\r\n");
			}

			if((tempstr[0] == 'o')&&(tempstr[1] == 'k')){
				ok = 1;
			}

			if(tempstr[0] == tempstr[1]){
				turn = 0;
				if(tempstr[0] == 'l'){
					if(tempstr[1] == 'l'){
						flag = -1;
					}
				}else if(tempstr[0] == 'r'){
					if(tempstr[1] == 'r'){
						flag = 1;
					}
				}
				if(tempstr[2]>='0'){
					turn = (tempstr[2] - '0')*10;
				}
				if(tempstr[3]>='0'){
					turn += (tempstr[3] - '0');
				}
				turn *= flag;
//				printf("dir:%d\r\n",turn);
				osMessageQueuePut( degreeHandle, &turn, 0,1);
				osMessageQueuePut( oled_dHandle, &turn, 0,1);
			}

			memset(tempstr,0,templength);
		}
    osDelay(1);
  }
  /* USER CODE END UARTTask */
}

void keyScanTask(void *argument)
{
  /* USER CODE BEGIN keyScanTask */
	char key_state = 0;
	int keypress = 0;
	int key_cnt = 0;
	int lastkey_cnt = 0;
	int llkey_cnt = 0;
	osSemaphoreId_t keypressSema;
  /* Infinite loop */
  for(;;)
  {
		keypress = keyscan();
		if(osSemaphoreAcquire(xKey04Handle,1) == osOK){
			key_state = !key_state;
		}
		if(keypress != 0){
			//key pressed!
			key_cnt = 1;
		}else{
			key_cnt = 0;
		}
		if((key_cnt == 1)&&(lastkey_cnt==1)&&(llkey_cnt == 0)){
			//one push
			printf("keypress:%d\r\n",keypress);
			//normal
			if(keypress==1){
				keypressSema=xKey01Handle;
			}else if(keypress==2){
				keypressSema=(xKey02Handle);
			}else if(keypress==3){
				keypressSema=(xKey03Handle);
			}else if(keypress==4){
				keypressSema=(xKey04Handle);
			}else if(keypress==5){
				keypressSema=(xKey05Handle);
			}else if(keypress==6){
				keypressSema=(xKey06Handle);
			}else if(keypress==7){
				keypressSema=(xKey07Handle);
			}else if(keypress==8){
				keypressSema=(xKey08Handle);
			}else if(keypress==9){
				keypressSema=(xKey09Handle);
			}else if(keypress==10){
				keypressSema=(xKey10Handle);
			}else if(keypress==11){
				keypressSema=(xKey11Handle);
			}else if(keypress==12){
				keypressSema=(xKey12Handle);
			}else if(keypress==13){
				keypressSema=(xKey13Handle);
			}else if(keypress==14){
				keypressSema=(xKey14Handle);
			}else if(keypress==15){
				keypressSema=(xKey15Handle);
			}else if(keypress==16){
				keypressSema=(xKey16Handle);
			}
			osSemaphoreRelease(keypressSema);
			while(keyscan()){
				if(keypressSema == xKey09Handle){
				  osSemaphoreRelease(keypressSema);
				}else if(keypressSema == xKey11Handle){
					osSemaphoreRelease(keypressSema);
				}
				osDelay(100);
			}
		}
		llkey_cnt = lastkey_cnt;
		lastkey_cnt = key_cnt;
    osDelay(5);
  }
  /* USER CODE END keyScanTask */
}

void servoTask(void *argument)
{
  /* USER CODE BEGIN servoTask */
	float degree = 0;
	int temp = 0;
  /* Infinite loop */
  for(;;)
  {
		if(osMessageQueueGet( degreeHandle, &temp, 0, 1) == osOK){
			degree = temp;
		}else if(osSemaphoreAcquire(xKey07Handle,1) == osOK){
			degree = 45;
		}else if(osSemaphoreAcquire(xKey05Handle,1) == osOK){
			degree = -50;
		}else if(osSemaphoreAcquire(xKey03Handle,1) == osOK){
			degree = 4;
		}else if(osSemaphoreAcquire(xKey11Handle,1) == osOK){
			degree+=5;
		}else if(osSemaphoreAcquire(xKey09Handle,1) == osOK){
			degree-=5;
		}else{
		}
		if(degree >= 45){
			degree = 45;
		}else if(degree <= -50){
			degree = -50;
		}
		servo(1,degree);
//		printf("servo:%d\r\n",(int)degree);
    osDelay(50);
  }
  /* USER CODE END servoTask */
}

/* USER CODE BEGIN Application */
void Uart6_printf(char *str)
{
	while(*str!=0)
	{
	HAL_UART_Transmit(&huart6, (uint8_t *)str, 1, 0xffff);
		str++;
	}
}

void Uart2_printf(char *str)
{
	while(*str!=0)
	{
	HAL_UART_Transmit(&huart2, (uint8_t *)str, 1, 0xffff);
		str++;
	}
}

int fputc(int ch, FILE *f)
{
  HAL_UART_Transmit(&huart6, (uint8_t *)&ch, 1, 0xffff);
  return ch;
}
/* USER CODE END Application */
